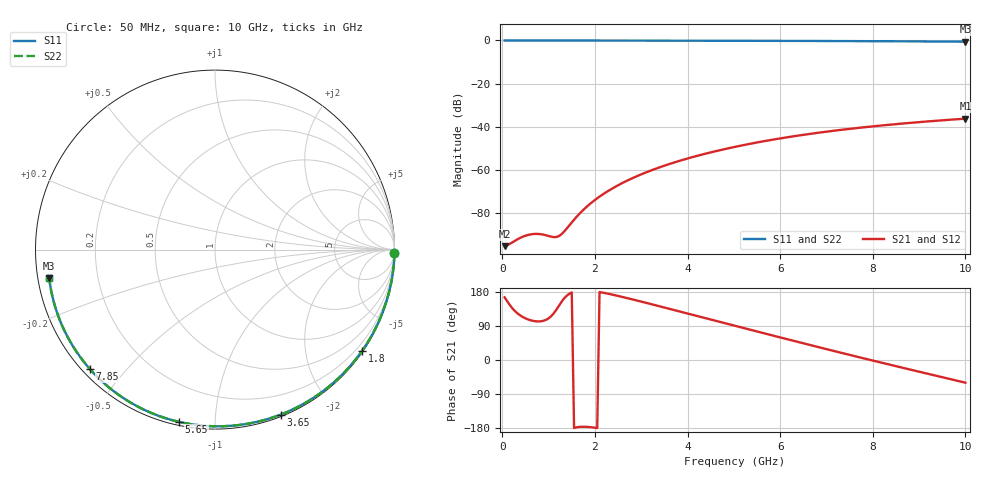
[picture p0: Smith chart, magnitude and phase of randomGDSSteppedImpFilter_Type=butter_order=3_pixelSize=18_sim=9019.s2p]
! freq	dB(S11)	phase(S11)	dB(S12)	phase(S12)
!  dB(S21)	phase(S21)	dB(S22)	phase(S22)
!S-par simulation data
#  GHz  S  DB  R 50
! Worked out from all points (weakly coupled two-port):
!   200 points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, 50 MHz to 10 GHz, reference 50 ohm
!   highest |S21| = -36.23 dB at 10 GHz (marker M1); lowest = -95.3 dB at 50 MHz (marker M2)
!   lowest |S11| = -0.6 dB at 10 GHz (marker M3), VSWR 30.88, Z = 1.63 - j4.23 ohm
!   |S11| at or under -10 dB: nowhere
!   |S22| runs from -0.6 to 0.0 dB; largest |S21 - S12| = 0
!   S11 on the Smith chart (normalised r, x): 50 MHz: open; 1.8 GHz: 0.03, -3.20; 3.65 GHz: 0.02, -1.47; 5.65 GHz: 0.02, -0.81; 7.85 GHz: 0.02, -0.40; 10 GHz: 0.03, -0.08
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0.05  -0.00 -1.0  -95.31 165.4  -95.31 165.4  -0.00 -1.0
0.8  -0.02 -15.6  -89.68 101.8  -89.68 101.8  -0.02 -15.6
1.2  -0.03 -23.3  -90.85 138.9  -90.85 138.9  -0.03 -23.3
1.65  -0.04 -31.9  -80.63 -176.8  -80.63 -176.8  -0.04 -31.9
1.7  -0.04 -32.8  -79.53 -176.2  -79.53 -176.2  -0.04 -32.8
1.75  -0.04 -33.8  -78.48 -176.1  -78.48 -176.1  -0.04 -33.8
1.8  -0.04 -34.7  -77.48 -176.2  -77.48 -176.2  -0.04 -34.7
2.1  -0.05 -40.3  -72.34 179.3  -72.34 179.3  -0.05 -40.3
2.45  -0.06 -46.8  -67.67 170.5  -67.67 170.5  -0.06 -46.8
2.9  -0.07 -55.0  -62.94 157.2  -62.94 157.2  -0.07 -55.0
3.4  -0.09 -63.9  -58.75 141.6  -58.75 141.6  -0.09 -63.9
3.65  -0.09 -68.3  -56.95 133.7  -56.95 133.7  -0.09 -68.3
4.35  -0.12 -80.3  -52.66 111.6  -52.66 111.6  -0.12 -80.4
5.05  -0.14 -92.0  -49.18 89.4  -49.18 89.4  -0.14 -92.0
5.65  -0.17 -101.8  -46.67 70.6  -46.67 70.6  -0.17 -101.8
6.15  -0.20 -109.7  -44.86 54.9  -44.86 54.9  -0.20 -109.8
6.7  -0.23 -118.4  -43.11 37.9  -43.11 37.9  -0.23 -118.4
7.25  -0.27 -126.9  -41.59 21.0  -41.59 21.0  -0.27 -126.9
7.85  -0.32 -136.2  -40.13 3.0  -40.13 3.0  -0.32 -136.2
8.35  -0.37 -144.0  -39.07 -11.9  -39.07 -11.9  -0.37 -144.0
9.2  -0.46 -157.3  -37.49 -36.7  -37.49 -36.7  -0.46 -157.4
10  -0.56 -170.3  -36.23 -59.9  -36.23 -59.9  -0.56 -170.3
